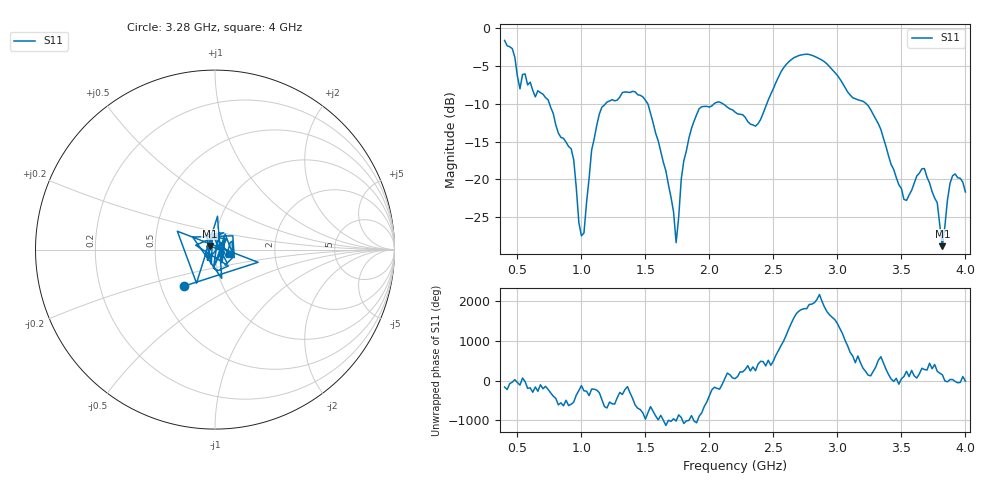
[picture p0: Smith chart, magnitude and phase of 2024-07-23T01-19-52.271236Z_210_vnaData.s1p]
!Created with skrf (http://scikit-rf.org).
# Hz S RI R 50.0
!freq ReS11 ImS11
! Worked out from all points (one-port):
!   181 points, 400 MHz to 4 GHz, reference 50 ohm
!   lowest |S11| = -28.8 dB at 3.82 GHz (marker M1), VSWR 1.08, Z = 47 + j1.89 ohm
!   |S11| at or under -10 dB: 750.3 MHz to 1.189 GHz (438.3 MHz wide, 45.2 % of centre); 1.519 GHz to 2.037 GHz (518.4 MHz wide, 29.2 % of centre); 3.225 GHz to end of sweep (the widest 3 of 4)
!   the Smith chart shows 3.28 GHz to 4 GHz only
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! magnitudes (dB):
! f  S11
! 400 MHz  -1.6
! 520 MHz  -8.0
! 560 MHz  -6.1
! 740 MHz  -9.5
! 860 MHz  -14.6
! 940 MHz  -17.4
! 1 GHz  -27.4
! 1.08 GHz  -16.1
! 1.14 GHz  -11.4
! 1.3 GHz  -9.1
! 1.52 GHz  -10.0
! 1.66 GHz  -18.9
! 1.74 GHz  -28.3
! 1.76 GHz  -25.0
! 1.8 GHz  -17.5
! 1.92 GHz  -10.7
! 2.2 GHz  -11.1
! 2.36 GHz  -13.0
! 2.66 GHz  -3.9
! 2.9 GHz  -4.5
! 3.1 GHz  -8.9
! 3.26 GHz  -10.8
! 3.56 GHz  -22.1
! 3.68 GHz  -18.6
! 3.78 GHz  -23.1
! 3.82 GHz  -28.8
! 3.9 GHz  -19.5
! 4 GHz  -21.7
